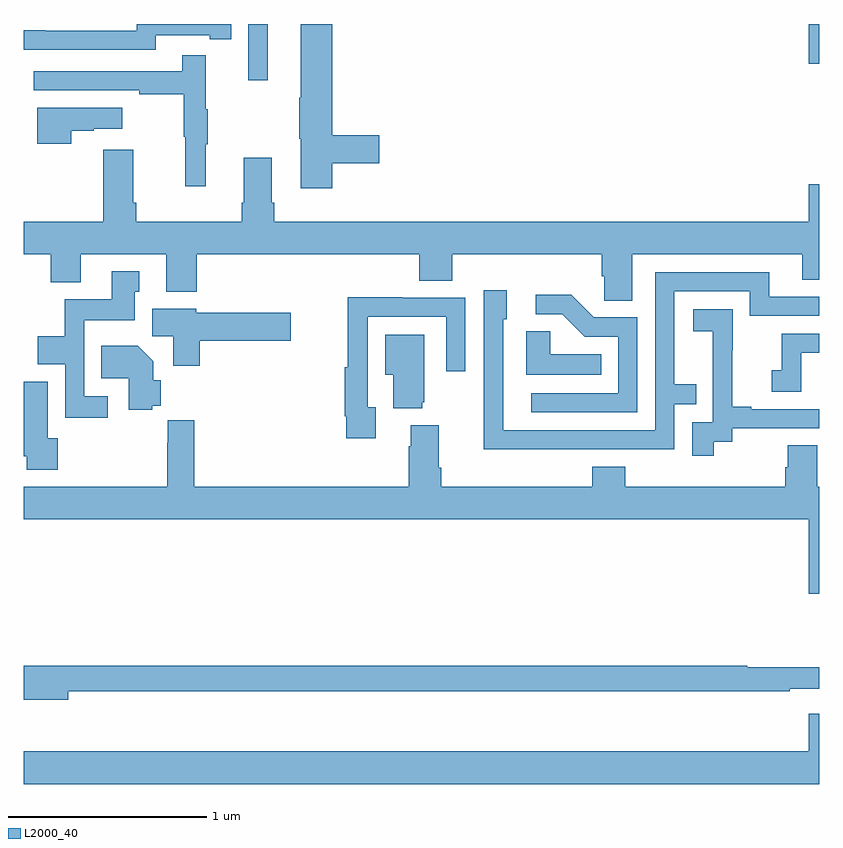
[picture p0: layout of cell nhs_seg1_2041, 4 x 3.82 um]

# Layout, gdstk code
import gdstk
lib = gdstk.Library(unit=1e-6, precision=1e-09)
def R(c, l, rs):  # rectangles x0, y0, x1, y1
    for r in rs: c.add(gdstk.rectangle(r[:2], r[2:], *l))
def P(c, l, *ps):  # polygons
    for p in ps: c.add(gdstk.Polygon(p, *l))
L2000_40 = (2000, 40)

nhs_seg1_2041 = lib.new_cell('nhs_seg1_2041')
R(nhs_seg1_2041, L2000_40, [(222.129,577.917,222.226,578.199), (224.948,577.998,225,578.199)])
P(nhs_seg1_2041, L2000_40, [(222.551,577.498),(222.787,577.498),(222.787,577.64),(222.551,577.64),(222.551,578.199),(222.392,578.199),(222.392,577.829),(222.385,577.829),(222.385,577.623),(222.392,577.623),(222.392,577.374),(222.551,577.374)],
  [(221.664,578.142),(221.936,578.142),(221.936,578.122),(222.044,578.122),(222.044,578.199),(221.568,578.199),(221.568,578.166),(221.108,578.166),(221.108,578.168),(221,578.168),(221,578.07),(221.664,578.07)],
  [(221.915,577.595),(221.926,577.595),(221.926,577.769),(221.915,577.769),(221.915,578.041),(221.797,578.041),(221.797,577.962),(221.049,577.962),(221.049,577.866),(221.581,577.866),(221.581,577.846),(221.805,577.846),(221.805,577.632),(221.812,577.632),(221.812,577.383),(221.915,577.383)],
  [(221.237,577.663),(221.351,577.663),(221.351,577.673),(221.494,577.673),(221.494,577.777),(221.066,577.777),(221.066,577.596),(221.237,577.596)],
  [(224.059,577.04),(224.915,577.04),(224.915,576.913),(225,576.913),(225,577.393),(224.948,577.393),(224.948,577.204),(222.26,577.204),(222.26,577.3),(222.247,577.3),(222.247,577.525),(222.107,577.525),(222.107,577.3),(222.095,577.3),(222.095,577.204),(221.564,577.204),(221.564,577.3),(221.551,577.3),(221.551,577.567),(221.399,577.567),(221.399,577.204),(221,577.204),(221,577.04),(221.135,577.04),(221.135,576.899),(221.287,576.899),(221.287,577.04),(221.717,577.04),(221.717,576.851),(221.87,576.851),(221.87,577.04),(222.989,577.04),(222.989,576.907),(223.154,576.907),(223.154,577.04),(223.907,577.04),(223.907,576.931),(223.92,576.931),(223.92,576.808),(224.059,576.808)],
  [(221.422,576.327),(221.304,576.327),(221.304,576.71),(221.557,576.71),(221.557,576.852),(221.581,576.852),(221.581,576.955),(221.441,576.955),(221.441,576.814),(221.206,576.814),(221.206,576.628),(221.069,576.628),(221.069,576.488),(221.208,576.488),(221.208,576.219),(221.422,576.219)],
  [(223.775,576.06),(224.271,576.06),(224.271,576.285),(224.381,576.285),(224.381,576.386),(224.271,576.386),(224.271,576.855),(224.652,576.855),(224.652,576.732),(225,576.732),(225,576.828),(224.749,576.828),(224.749,576.951),(224.175,576.951),(224.175,576.156),(223.41,576.156),(223.41,576.714),(223.429,576.714),(223.429,576.859),(223.314,576.859),(223.314,576.365),(223.312,576.365),(223.312,576.059),(223.775,576.059)],
  [(224.085,576.723),(223.866,576.723),(223.753,576.836),(223.575,576.836),(223.575,576.738),(223.709,576.738),(223.82,576.627),(223.989,576.627),(223.989,576.342),(223.551,576.342),(223.551,576.246),(224.085,576.246)],
  [(222.769,576.27),(222.729,576.27),(222.729,576.726),(223.125,576.726),(223.125,576.453),(223.221,576.453),(223.221,576.822),(222.905,576.822),(222.905,576.824),(222.628,576.824),(222.628,576.473),(222.613,576.473),(222.613,576.226),(222.621,576.226),(222.621,576.114),(222.769,576.114)],
  [(221.885,576.605),(222.343,576.605),(222.343,576.747),(221.868,576.747),(221.868,576.766),(221.645,576.766),(221.645,576.628),(221.75,576.628),(221.75,576.48),(221.885,576.48)],
  [(224.47,576.097),(224.562,576.097),(224.562,576.165),(225,576.165),(225,576.261),(224.659,576.261),(224.659,576.274),(224.564,576.274),(224.564,576.557),(224.565,576.557),(224.565,576.763),(224.367,576.763),(224.367,576.653),(224.465,576.653),(224.465,576.425),(224.466,576.425),(224.466,576.195),(224.361,576.195),(224.361,576.027),(224.47,576.027)],
  [(223.904,576.538),(223.647,576.538),(223.647,576.653),(223.526,576.653),(223.526,576.434),(223.904,576.434)],
  [(224.91,576.546),(225,576.546),(225,576.642),(224.812,576.642),(224.812,576.457),(224.763,576.457),(224.763,576.348),(224.91,576.348)],
  [(223.004,576.297),(223.015,576.297),(223.015,576.637),(222.818,576.637),(222.818,576.434),(222.857,576.434),(222.857,576.266),(223.004,576.266)],
  [(221.646,576.278),(221.689,576.278),(221.689,576.406),(221.65,576.406),(221.65,576.502),(221.572,576.58),(221.389,576.58),(221.389,576.416),(221.528,576.416),(221.528,576.259),(221.646,576.259)],
  [(221.171,576.114),(221.119,576.114),(221.119,576.4),(221,576.4),(221,576.024),(221.014,576.024),(221.014,575.958),(221.171,575.958)],
  [(225,575.872),(224.991,575.872),(224.991,576.08),(224.843,576.08),(224.843,575.97),(224.831,575.97),(224.831,575.872),(224.024,575.872),(224.024,575.971),(223.859,575.971),(223.859,575.872),(223.1,575.872),(223.1,575.968),(223.087,575.968),(223.087,576.181),(222.947,576.181),(222.947,576.074),(222.935,576.074),(222.935,575.872),(221.858,575.872),(221.858,576.205),(221.723,576.205),(221.723,576.092),(221.722,576.092),(221.722,575.872),(221,575.872),(221,575.708),(224.948,575.708),(224.948,575.334),(225,575.334)],
  [(221.224,574.842),(224.852,574.842),(224.852,574.854),(225,574.854),(225,574.963),(224.638,574.963),(224.638,574.97),(221,574.97),(221,574.799),(221.224,574.799)],
  [(225,574.729),(224.948,574.729),(224.948,574.54),(221,574.54),(221,574.376),(225,574.376)])

lib.write_gds('nhs_seg1_2041.gds')
